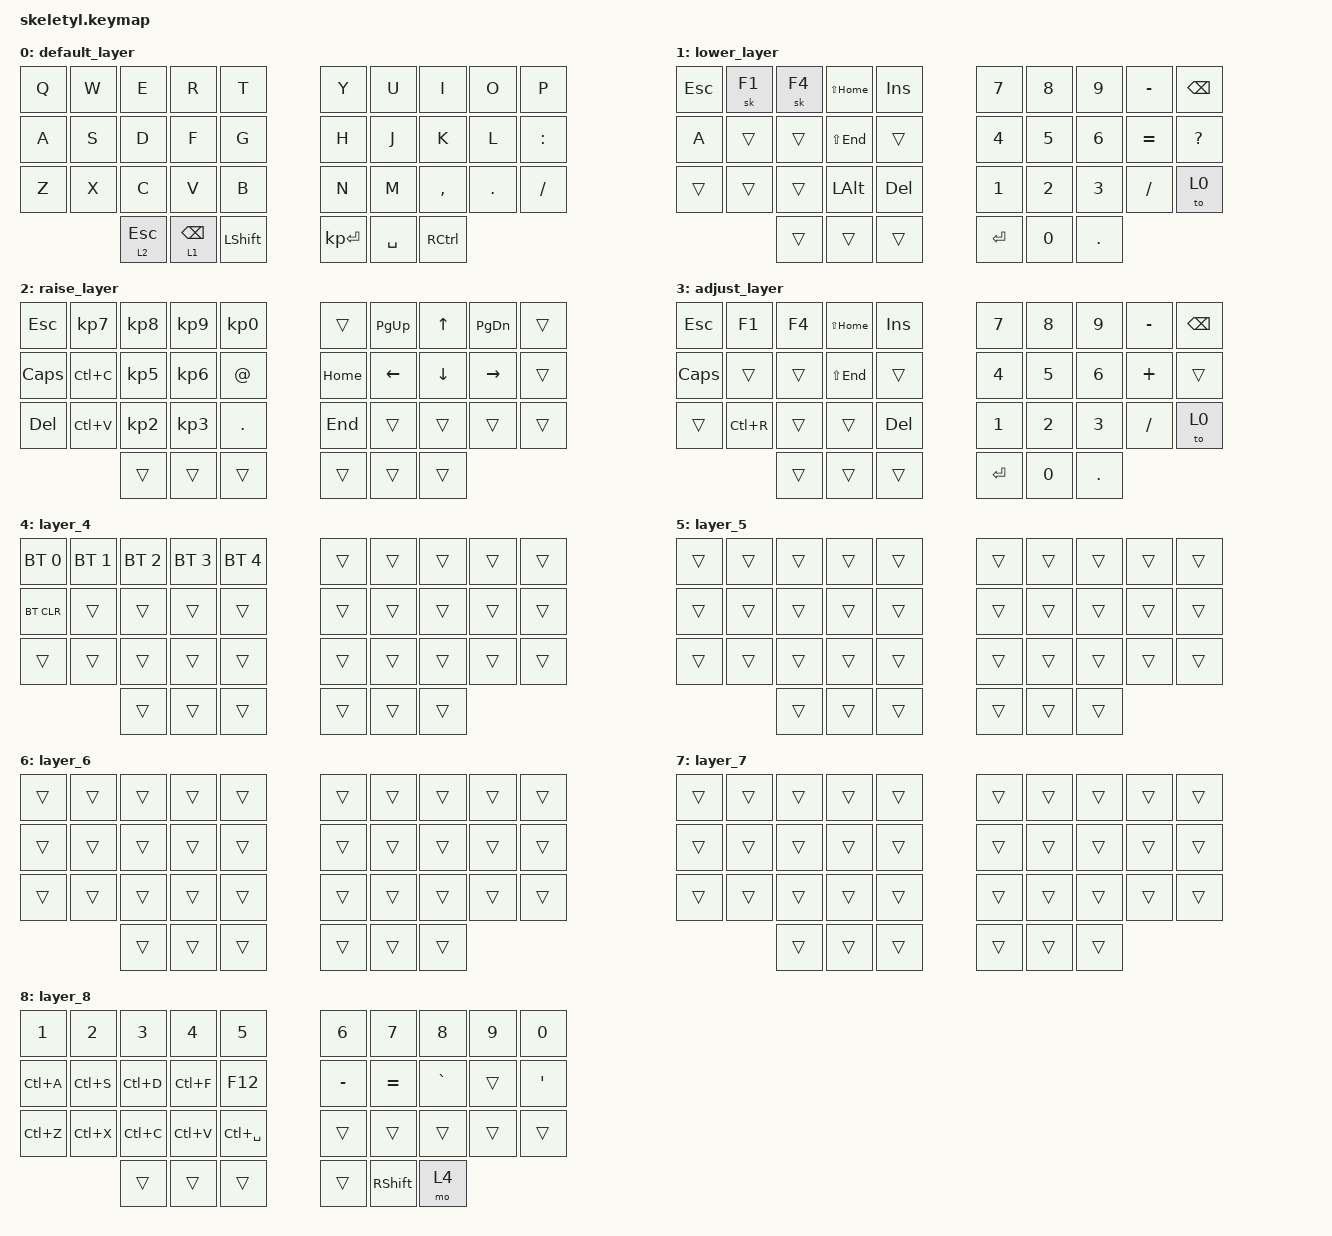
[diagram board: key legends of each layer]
/*
 * Copyright (c) 2020 The ZMK Contributors
 *
 * SPDX-License-Identifier: MIT
 */

#include <behaviors.dtsi>
#include <dt-bindings/zmk/bt.h>
#include <dt-bindings/zmk/keys.h>

&mt {
    tapping-term-ms = <200>;
    flavor = "tap-preferred";
};

/ {
    combos {
        compatible = "zmk,combos";

        left_bkt {
            bindings = <&tog 3>;
            key-positions = <3 2>;
            timeout-ms = <50>;
        };

        right_bkt {
            bindings = <&kp RBKT>;
            key-positions = <6 7>;
            timeout-ms = <50>;
        };

        left_par {
            bindings = <&kp LEFT_PARENTHESIS>;
            key-positions = <12 13>;
            timeout-ms = <50>;
        };

        right_par {
            bindings = <&kp RIGHT_PARENTHESIS>;
            key-positions = <16 17>;
            timeout-ms = <50>;
        };

        left_brace {
            bindings = <&kp LEFT_BRACE>;
            key-positions = <23 22>;
            timeout-ms = <50>;
        };

        right_brace {
            bindings = <&kp RIGHT_BRACE>;
            key-positions = <26 27>;
            timeout-ms = <50>;
        };

        bac {
            bindings = <&kp BACKSLASH>;
            key-positions = <4 5>;
        };

        pipe {
            bindings = <&kp PIPE>;
            key-positions = <14 15>;
        };

        buy {
            bindings = <&buy>;
            key-positions = <3 4>;
        };

        tonghuashun {
            bindings = <&tonghuashun>;
            key-positions = <6 5>;
        };
    };

    behaviors {
        hm: homerow_mods {
            compatible = "zmk,behavior-hold-tap";
            label = "HOMEROW_MODS";
            #binding-cells = <2>;
            tapping-term-ms = <200>;
            quick_tap_ms = <0>;
            flavor = "tap-preferred";
            bindings = <&kp>, <&kp>;

            quick-tap-ms = <180>;
            global-quick-tap;
        };

        ltq: ltq {
            compatible = "zmk,behavior-hold-tap";
            label = "LTQ";
            bindings = <&mo>, <&kp>;

            #binding-cells = <2>;
            tapping-term-ms = <600>;
            global-quick-tap;
            quick-tap-ms = <400>;
        };
    };

    macros {
        buy: buy {
            compatible = "zmk,behavior-macro";
            #binding-cells = <0>;
            bindings = <&kp NUMBER_2 &kp NUMBER_1>;
            label = "BUY";
        };

        tonghuashun: tonghuashun {
            compatible = "zmk,behavior-macro";
            #binding-cells = <0>;
            bindings = <&kp W &kp A &kp N &kp G &kp H &kp A &kp O &kp D &kp A &kp NUMBER_1 &kp NUMBER_2 &kp NUMBER_3 &kp NUMBER_4>;
            label = "TONGHUASHUN";
        };
    };

    keymap {
        compatible = "zmk,keymap";

        default_layer {
            bindings = <
&kp Q                &kp W                   &kp E                  &kp R  &kp T         &kp Y                 &kp U  &kp I      &kp O       &kp P
&kp A                &kp S                   &kp D                  &kp F  &kp G         &kp H                 &kp J  &kp K      &kp L       &kp COLON
&kp Z                &kp X                   &kp C                  &kp V  &kp B         &kp N                 &kp M  &kp COMMA  &kp PERIOD  &kp FSLH
       &lt 2 ESCAPE         &lt 1 BACKSPACE         &kp LEFT_SHIFT         &kp KP_ENTER  &kp SPACE  &kp RCTRL
            >;
        };

        lower_layer {
            bindings = <
&kp ESC          &sk F1          &sk F4          &kp LS(HOME)  &kp INSERT  &kp N7           &kp N8  &kp N9  &kp MINUS  &kp BSPC
&kp A            &trans          &trans          &kp LS(END)   &trans      &kp N4           &kp N5  &kp N6  &kp EQUAL  &kp QUESTION
&trans           &trans          &trans          &kp LALT      &kp DELETE  &kp N1           &kp N2  &kp N3  &kp FSLH   &to 0
         &trans          &trans          &trans                &kp ENTER   &kp N0  &kp DOT
            >;
        };

        raise_layer {
            bindings = <
&kp ESC             &kp KP_NUMBER_7          &kp KP_NUMBER_8          &kp KP_NUMBER_9  &kp KP_NUMBER_0  &trans            &kp PAGE_UP  &kp UP_ARROW  &kp PAGE_DOWN  &trans
&kp CAPS            &kp LC(C)                &kp KP_NUMBER_5          &kp KP_NUMBER_6  &kp AT           &kp HOME          &kp LEFT     &kp DOWN      &kp RIGHT      &trans
&kp DELETE          &kp LC(V)                &kp KP_NUMBER_2          &kp KP_NUMBER_3  &kp DOT          &kp END           &trans       &trans        &trans         &trans
            &trans                   &trans                   &trans                   &trans           &trans    &trans
            >;
        };

        adjust_layer {
            bindings = <
&kp ESC           &kp F1             &kp F4          &kp LS(HOME)  &kp INSERT  &kp N7           &kp N8  &kp N9  &kp MINUS  &kp BSPC
&kp CAPS          &trans             &trans          &kp LS(END)   &trans      &kp N4           &kp N5  &kp N6  &kp PLUS   &trans
&trans            &kp LC(R)          &trans          &trans        &kp DELETE  &kp N1           &kp N2  &kp N3  &kp FSLH   &to 0
          &trans             &trans          &trans                &kp ENTER   &kp N0  &kp DOT
            >;
        };

        layer_4 {
            bindings = <
&bt BT_SEL 0          &bt BT_SEL 1          &bt BT_SEL 2          &bt BT_SEL 3  &bt BT_SEL 4  &trans          &trans  &trans  &trans  &trans
&bt BT_CLR            &trans                &trans                &trans        &trans        &trans          &trans  &trans  &trans  &trans
&trans                &trans                &trans                &trans        &trans        &trans          &trans  &trans  &trans  &trans
              &trans                &trans                &trans                &trans        &trans  &trans
            >;
        };

        layer_5 {
            bindings = <
&trans          &trans          &trans          &trans  &trans  &trans          &trans  &trans  &trans  &trans
&trans          &trans          &trans          &trans  &trans  &trans          &trans  &trans  &trans  &trans
&trans          &trans          &trans          &trans  &trans  &trans          &trans  &trans  &trans  &trans
        &trans          &trans          &trans          &trans  &trans  &trans
            >;
        };

        layer_6 {
            bindings = <
&trans          &trans          &trans          &trans  &trans  &trans          &trans  &trans  &trans  &trans
&trans          &trans          &trans          &trans  &trans  &trans          &trans  &trans  &trans  &trans
&trans          &trans          &trans          &trans  &trans  &trans          &trans  &trans  &trans  &trans
        &trans          &trans          &trans          &trans  &trans  &trans
            >;
        };

        layer_7 {
            bindings = <
&trans          &trans          &trans          &trans  &trans  &trans          &trans  &trans  &trans  &trans
&trans          &trans          &trans          &trans  &trans  &trans          &trans  &trans  &trans  &trans
&trans          &trans          &trans          &trans  &trans  &trans          &trans  &trans  &trans  &trans
        &trans          &trans          &trans          &trans  &trans  &trans
            >;
        };

        layer_8 {
            bindings = <
&kp N1             &kp N2             &kp N3             &kp N4     &kp N5         &kp N6            &kp N7     &kp N8     &kp N9  &kp N0
&kp LC(A)          &kp LC(S)          &kp LC(D)          &kp LC(F)  &kp F12        &kp MINUS         &kp EQUAL  &kp GRAVE  &trans  &kp SQT
&kp LC(Z)          &kp LC(X)          &kp LC(C)          &kp LC(V)  &kp LC(SPACE)  &trans            &trans     &trans     &trans  &trans
           &trans             &trans             &trans             &trans         &kp RSHFT  &mo 4
            >;
        };
    };
};
